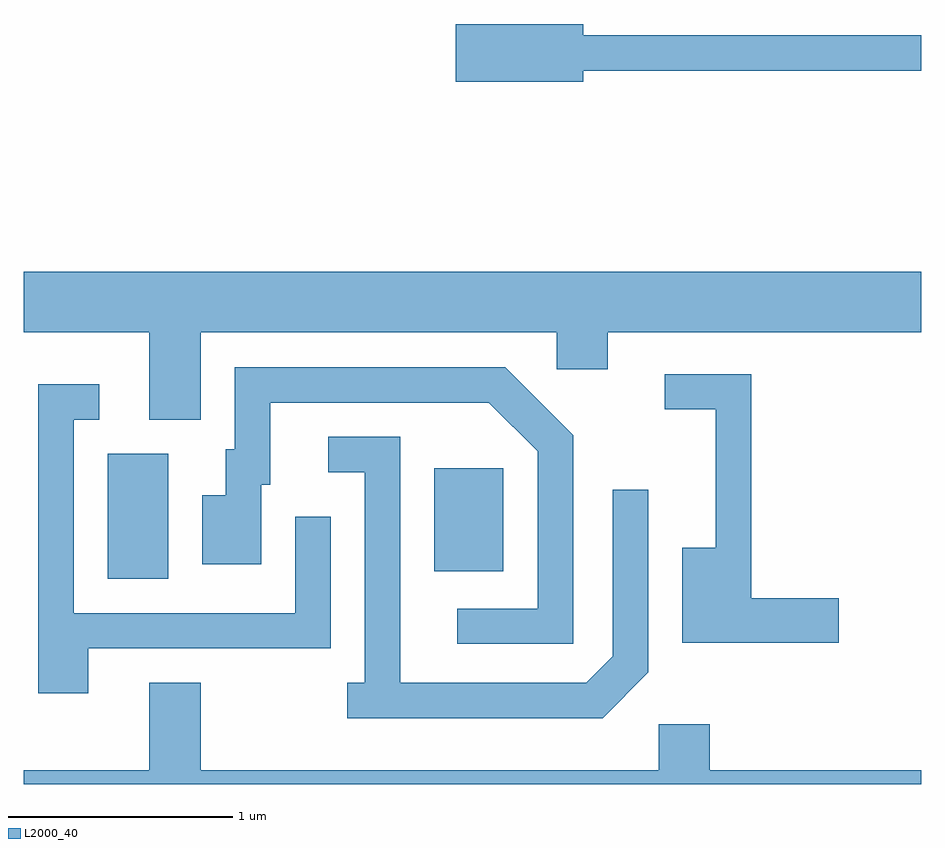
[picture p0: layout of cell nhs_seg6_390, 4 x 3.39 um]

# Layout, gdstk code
import gdstk
lib = gdstk.Library(unit=1e-6, precision=1e-09)
def R(c, l, rs):  # rectangles x0, y0, x1, y1
    for r in rs: c.add(gdstk.rectangle(r[:2], r[2:], *l))
def P(c, l, *ps):  # polygons
    for p in ps: c.add(gdstk.Polygon(p, *l))
L2000_40 = (2000, 40)

nhs_seg6_390 = lib.new_cell('nhs_seg6_390')
R(nhs_seg6_390, L2000_40, [(195.986,1631.076,196.254,1631.634), (197.441,1631.111,197.749,1631.569)])
P(nhs_seg6_390, L2000_40, [(198.104,1633.341),(199.611,1633.341),(199.611,1633.499),(198.104,1633.499),(198.104,1633.549),(197.536,1633.549),(197.536,1633.291),(198.104,1633.291)],
  [(196.399,1632.176),(197.986,1632.176),(197.986,1632.011),(198.214,1632.011),(198.214,1632.176),(199.611,1632.176),(199.611,1632.444),(195.611,1632.444),(195.611,1632.176),(196.171,1632.176),(196.171,1631.786),(196.399,1631.786)],
  [(198.059,1631.717),(197.757,1632.019),(196.551,1632.019),(196.551,1631.654),(196.511,1631.654),(196.511,1631.449),(196.406,1631.449),(196.406,1631.141),(196.669,1631.141),(196.669,1631.496),(196.709,1631.496),(196.709,1631.861),(197.684,1631.861),(197.901,1631.644),(197.901,1630.944),(197.543,1630.944),(197.543,1630.786),(198.059,1630.786)],
  [(199.244,1630.989),(198.854,1630.989),(198.854,1631.989),(198.468,1631.989),(198.468,1631.831),(198.696,1631.831),(198.696,1631.214),(198.546,1631.214),(198.546,1630.791),(199.244,1630.791)],
  [(195.899,1630.766),(196.979,1630.766),(196.979,1631.353),(196.821,1631.353),(196.821,1630.924),(195.834,1630.924),(195.834,1631.786),(195.948,1631.786),(195.948,1631.944),(195.676,1631.944),(195.676,1630.566),(195.899,1630.566)],
  [(198.394,1630.659),(198.394,1631.473),(198.236,1631.473),(198.236,1630.732),(198.119,1630.614),(197.289,1630.614),(197.289,1631.709),(196.968,1631.709),(196.968,1631.551),(197.131,1631.551),(197.131,1630.614),(197.053,1630.614),(197.053,1630.456),(198.192,1630.456)],
  [(199.611,1630.224),(198.669,1630.224),(198.669,1630.429),(198.441,1630.429),(198.441,1630.224),(196.399,1630.224),(196.399,1630.614),(196.171,1630.614),(196.171,1630.224),(195.611,1630.224),(195.611,1630.162),(199.611,1630.162)])

lib.write_gds('nhs_seg6_390.gds')
